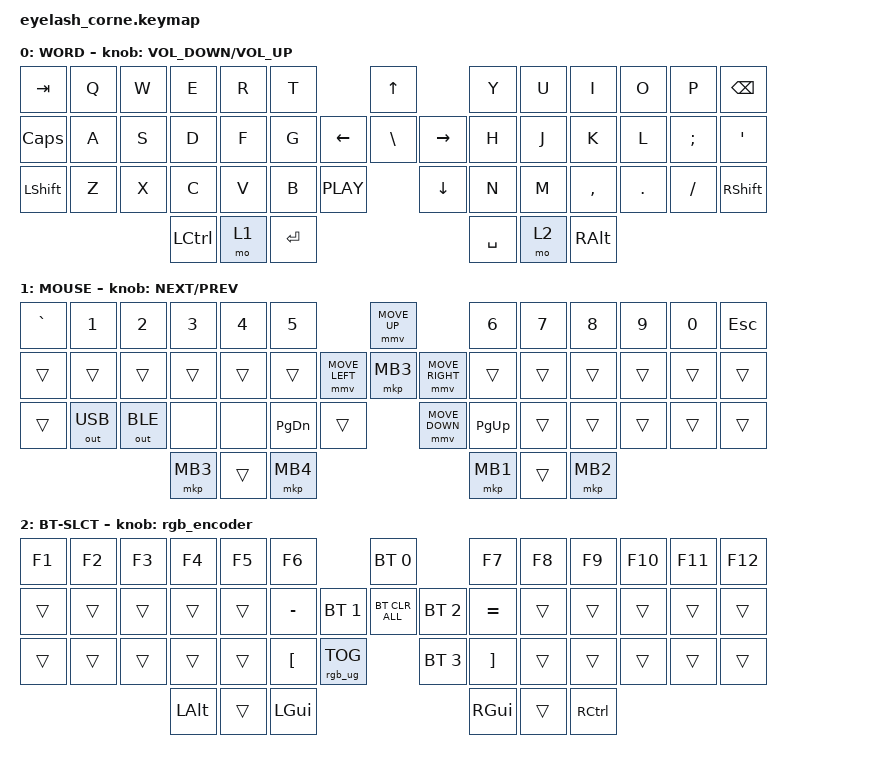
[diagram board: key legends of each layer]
#define ZMK_POINTING_DEFAULT_MOVE_VAL 1200  // 600
#define ZMK_POINTING_DEFAULT_SCRL_VAL 25   // 10

#include <input/processors.dtsi>
#include <zephyr/dt-bindings/input/input-event-codes.h>
#include <behaviors.dtsi>
#include <dt-bindings/zmk/bt.h>
#include <dt-bindings/zmk/keys.h>
#include <dt-bindings/zmk/outputs.h>
#include <dt-bindings/zmk/pointing.h>
#include <dt-bindings/zmk/rgb.h>

&mmv_input_listener { input-processors = <&zip_xy_scaler 2 1>; };

&msc_input_listener { input-processors = <&zip_scroll_scaler 2 1>; };

&msc {
    acceleration-exponent = <1>;      // 0
    time-to-max-speed-ms = <100>;       // 300
    delay-ms = <0>;                   // 0
};

&mmv {
    time-to-max-speed-ms = <500>;
    acceleration-exponent = <1>;
    trigger-period-ms = <16>;
};

/ {
    behaviors {
        td0: td0 {
            compatible = "zmk,behavior-tap-dance";
            display-name = "Shift/Caps Lock Tap Dance";
            #binding-cells = <0>;
            bindings = <&kp LEFT_SHIFT>, <&kp CAPS>;
        };
    };

    rgb_encoder: rgb_encoder {
        compatible = "zmk,behavior-sensor-rotate";
        #sensor-binding-cells = <0>;
        bindings = <&rgb_ug RGB_BRI>, <&rgb_ug RGB_BRD>;
    };

    scroll_encoder: scroll_encoder {
        compatible = "zmk,behavior-sensor-rotate";
        #sensor-binding-cells = <0>;
        bindings = <&msc SCRL_DOWN>, <&msc SCRL_UP>;

        tap-ms = <100>;
    };

    combos {
        compatible = "zmk,combos";

        CBe {
            bindings = <&kp GRAVE>;
            key-positions = <0 13>;
        };

        CB1 {
            bindings = <&kp NUMBER_1>;
            key-positions = <1 14>;
        };

        CB2 {
            bindings = <&kp NUMBER_2>;
            key-positions = <2 15>;
        };

        CB3 {
            bindings = <&kp NUMBER_3>;
            key-positions = <3 16>;
        };

        CB4 {
            bindings = <&kp NUMBER_4>;
            key-positions = <4 17>;
        };

        CB5 {
            bindings = <&kp N5>;
            key-positions = <5 18>;
        };

        CB6 {
            bindings = <&kp NUMBER_6>;
            key-positions = <7 22>;
        };

        CB7 {
            bindings = <&kp NUMBER_7>;
            key-positions = <8 23>;
        };

        CB8 {
            bindings = <&kp NUMBER_8>;
            key-positions = <9 24>;
        };

        CB9 {
            bindings = <&kp N9>;
            key-positions = <10 25>;
        };

        CB0 {
            bindings = <&kp NUMBER_0>;
            key-positions = <11 26>;
        };
    };

    keymap {
        compatible = "zmk,keymap";

        default_layer {
            display-name = "WORD";
            bindings = <
&kp TAB         &kp Q  &kp W  &kp E      &kp R  &kp T                              &kp UP                    &kp Y      &kp U  &kp I      &kp O    &kp P     &kp BSPC
&kp CAPS        &kp A  &kp S  &kp D      &kp F  &kp G                    &kp LEFT  &kp BACKSLASH  &kp RIGHT  &kp H      &kp J  &kp K      &kp L    &kp SEMI  &kp SQT
&kp LEFT_SHIFT  &kp Z  &kp X  &kp C      &kp V  &kp B      &kp C_PLAY              &kp DOWN                  &kp N      &kp M  &kp COMMA  &kp DOT  &kp FSLH  &kp RIGHT_SHIFT
                              &kp LCTRL  &mo 1  &kp ENTER                                                    &kp SPACE  &mo 2  &kp RALT
            >;

            sensor-bindings = <&inc_dec_kp C_VOLUME_DOWN C_VOLUME_UP>;
        };

        raise_layer {
            display-name = "MOUSE";
            bindings = <
&kp GRAVE  &kp NUMBER_1  &kp NUMBER_2  &kp NUMBER_3  &kp NUMBER_4  &kp N5                                   &mmv MOVE_UP                     &kp NUMBER_6  &kp N7  &kp N8    &kp N9  &kp N0  &kp ESC
&trans     &trans        &trans        &trans        &trans        &trans                   &mmv MOVE_LEFT  &mkp MB3        &mmv MOVE_RIGHT  &trans        &trans  &trans    &trans  &trans  &trans
&trans     &out OUT_USB  &out OUT_BLE  &none         &none         &kp PAGE_DOWN  &trans                    &mmv MOVE_DOWN                   &kp PG_UP     &trans  &trans    &trans  &trans  &trans
                                       &mkp MB3      &trans        &mkp MB4                                                                  &mkp MB1      &trans  &mkp MB2
            >;

            sensor-bindings = <&inc_dec_kp C_NEXT C_PREV>;
        };

        lower_layer {
            display-name = "BT-SLCT";
            bindings = <
&kp F1  &kp F2  &kp F3  &kp F4        &kp F5  &kp F6                                             &bt BT_SEL 0                  &kp F7             &kp F8  &kp F9     &kp F10  &kp F11  &kp F12
&trans  &trans  &trans  &trans        &trans  &kp MINUS                            &bt BT_SEL 1  &bt BT_CLR_ALL  &bt BT_SEL 2  &kp EQUAL          &trans  &trans     &trans   &trans   &trans
&trans  &trans  &trans  &trans        &trans  &kp LEFT_BRACKET  &rgb_ug RGB_TOG                  &bt BT_SEL 3                  &kp RIGHT_BRACKET  &trans  &trans     &trans   &trans   &trans
                        &kp LEFT_ALT  &trans  &kp LEFT_GUI                                                                     &kp RIGHT_GUI      &trans  &kp RCTRL
            >;

            sensor-bindings = <&rgb_encoder>;
        };
    };
};
